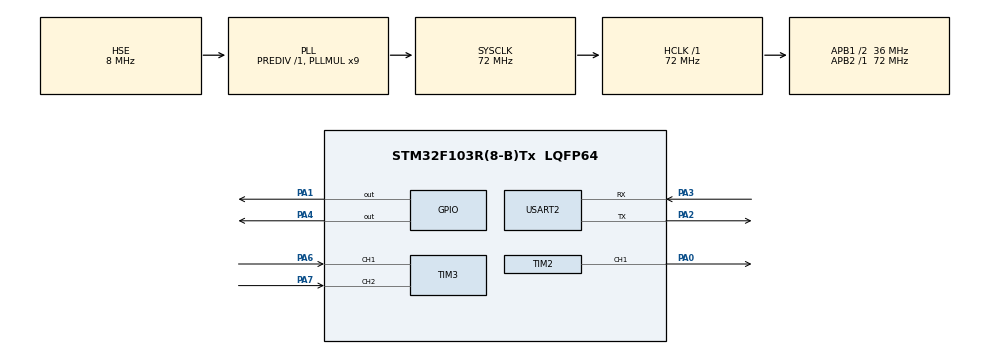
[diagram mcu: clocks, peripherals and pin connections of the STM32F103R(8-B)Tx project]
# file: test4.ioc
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Mcu.Family=STM32F1
Mcu.Name=STM32F103R(8-B)Tx
Mcu.Package=LQFP64
NVIC.PriorityGroup=NVIC_PRIORITYGROUP_4
PA0-WKUP.Signal=S_TIM2_CH1_ETR
PA1.GPIO_Speed=GPIO_SPEED_FREQ_HIGH
PA1.Signal=GPIO_Output
PA13.Mode=Serial_Wire
PA13.Signal=SYS_JTMS-SWDIO
PA14.Mode=Serial_Wire
PA14.Signal=SYS_JTCK-SWCLK
PA2.Mode=Asynchronous
PA2.Signal=USART2_TX
PA3.Mode=Asynchronous
PA3.Signal=USART2_RX
PA4.GPIO_Speed=GPIO_SPEED_FREQ_HIGH
PA4.Signal=GPIO_Output
PA6.Signal=S_TIM3_CH1
PA7.Signal=S_TIM3_CH2
PD0-OSC_IN.Mode=HSE-External-Clock-Source
PD0-OSC_IN.Signal=RCC_OSC_IN
PD1-OSC_OUT.Mode=HSE-External-Clock-Source
PD1-OSC_OUT.Signal=RCC_OSC_OUT
ProjectManager.HeapSize=0x200
ProjectManager.StackSize=0x400
ProjectManager.TargetToolchain=STM32CubeIDE
RCC.ADCPresc=RCC_ADCPCLK2_DIV6
RCC.AHBFreq_Value=72000000
RCC.APB1CLKDivider=RCC_HCLK_DIV2
RCC.APB1Freq_Value=36000000
RCC.APB1TimFreq_Value=72000000
RCC.APB2Freq_Value=72000000
RCC.APB2TimFreq_Value=72000000
RCC.HCLKFreq_Value=72000000
RCC.PLLMUL=RCC_PLL_MUL9
RCC.PLLSourceVirtual=RCC_PLLSOURCE_HSE
RCC.SYSCLKFreq_VALUE=72000000
RCC.SYSCLKSource=RCC_SYSCLKSOURCE_PLLCLK
RCC.USBFreq_Value=72000000
SH.S_TIM2_CH1_ETR.0=TIM2_CH1,PWM Generation1 CH1
SH.S_TIM3_CH1.0=TIM3_CH1,Encoder_Interface
SH.S_TIM3_CH2.0=TIM3_CH2,Encoder_Interface
TIM2.Channel-PWM\ Generation1\ CH1=TIM_CHANNEL_1
TIM2.Period=999
TIM2.Prescaler=71
USART2.VirtualMode=VM_ASYNC
board=custom

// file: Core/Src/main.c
/* USER CODE BEGIN Header */
/**
  ******************************************************************************
  * @file           : main.c
  * @brief          : Main program body
  ******************************************************************************
  * @attention
  *
  * Copyright (c) 2026 STMicroelectronics.
  * All rights reserved.
  *
  * This software is licensed under terms that can be found in the LICENSE file
  * in the root directory of this software component.
  * If no LICENSE file comes with this software, it is provided AS-IS.
  *
  ******************************************************************************
  */
/* USER CODE END Header */
#include "main.h"

/* USER CODE BEGIN Includes */
#include <stdio.h>
#include <stdlib.h>
#include <math.h>
/* USER CODE END Includes */

/* USER CODE BEGIN PD */

#define VOLTAGE_MAX 12.0f
#define MAX_PWM 999

/* USER CODE END PD */

TIM_HandleTypeDef htim2;
TIM_HandleTypeDef htim3;

UART_HandleTypeDef huart2;

void SystemClock_Config(void);
static void MX_GPIO_Init(void);
static void MX_TIM2_Init(void);
static void MX_TIM3_Init(void);
static void MX_USART2_UART_Init(void);

/* USER CODE BEGIN 0 */

int _write(int file, char *ptr, int len)
{
    HAL_UART_Transmit(&huart2, (uint8_t *)ptr, len, HAL_MAX_DELAY);
    return len;
}

void motor_set(float motor_voltage)
{
    float u = motor_voltage / VOLTAGE_MAX;

    if (u > 1.0f) u = 1.0f;
    if (u < -1.0f) u = -1.0f;
    if (u > 0.01f && u < 0.15f) u = 0.15f;
    if (u < -0.01f && u > -0.15f) u = -0.15f;

    if (u > 0.01f)
    {
        HAL_GPIO_WritePin(GPIOA, GPIO_PIN_1, GPIO_PIN_SET);
        HAL_GPIO_WritePin(GPIOA, GPIO_PIN_4, GPIO_PIN_RESET);
        __HAL_TIM_SET_COMPARE(&htim2, TIM_CHANNEL_1, (uint16_t)(u * MAX_PWM));
    }
    else if (u < -0.01f)
    {
        HAL_GPIO_WritePin(GPIOA, GPIO_PIN_1, GPIO_PIN_RESET);
        HAL_GPIO_WritePin(GPIOA, GPIO_PIN_4, GPIO_PIN_SET);
        __HAL_TIM_SET_COMPARE(&htim2, TIM_CHANNEL_1, (uint16_t)(-u * MAX_PWM));
    }
    else
    {
        HAL_GPIO_WritePin(GPIOA, GPIO_PIN_1, GPIO_PIN_RESET);
        HAL_GPIO_WritePin(GPIOA, GPIO_PIN_4, GPIO_PIN_RESET);
        __HAL_TIM_SET_COMPARE(&htim2, TIM_CHANNEL_1, 0);
    }
}

void motor_stop(void)
{
    HAL_GPIO_WritePin(GPIOA, GPIO_PIN_1, GPIO_PIN_RESET);
    HAL_GPIO_WritePin(GPIOA, GPIO_PIN_4, GPIO_PIN_RESET);
    __HAL_TIM_SET_COMPARE(&htim2, TIM_CHANNEL_1, 0);
}

/* USER CODE END 0 */

int main(void)
{

  /* MCU Configuration--------------------------------------------------------*/

  /* Reset of all peripherals, Initializes the Flash interface and the Systick. */
  HAL_Init();

  /* Configure the system clock */
  SystemClock_Config();

  /* Initialize all configured peripherals */
  MX_GPIO_Init();
  MX_TIM2_Init();
  MX_TIM3_Init();
  MX_USART2_UART_Init();
  /* USER CODE BEGIN 2 */
  HAL_TIM_PWM_Start(&htim2, TIM_CHANNEL_1);
  HAL_TIM_Encoder_Start(&htim3, TIM_CHANNEL_ALL);
  __HAL_TIM_SET_COUNTER(&htim3, 0);
  printf("\r\n\nSystem started\r\n");
  /* USER CODE END 2 */

  /* Infinite loop */
  /* USER CODE BEGIN WHILE */
  printf("time_ms,position,velocity\r\n");
  motor_set(12);

  int16_t start = (int16_t)__HAL_TIM_GET_COUNTER(&htim3);
  int16_t prev  = start;
  uint32_t t0   = HAL_GetTick();
  uint32_t last_print = t0;

  while (HAL_GetTick() - t0 < 1000)
  {
      uint32_t now = HAL_GetTick();
      if (now - last_print >= 20)
      {
          int16_t count = (int16_t)__HAL_TIM_GET_COUNTER(&htim3);
          int16_t vel   = count - prev;
          printf("%lu,%d,%d\r\n", now - t0, count - start, vel);
          prev = count;
          last_print = now;
      }
  }

  motor_stop();

  while (HAL_GetTick() - t0 < 2000)
    {
        uint32_t now = HAL_GetTick();
        if (now - last_print >= 20)
        {
            int16_t count = (int16_t)__HAL_TIM_GET_COUNTER(&htim3);
            int16_t vel   = count - prev;
            printf("%lu,%d,%d\r\n", now - t0, count - start, vel);
            prev = count;
            last_print = now;
        }
    }

  printf("DONE\r\n");
  while (1)
  {
  }
}

void SystemClock_Config(void)
{
  RCC_OscInitTypeDef RCC_OscInitStruct = {0};
  RCC_ClkInitTypeDef RCC_ClkInitStruct = {0};

  /** Initializes the RCC Oscillators according to the specified parameters
  * in the RCC_OscInitTypeDef structure.
  */
  RCC_OscInitStruct.OscillatorType = RCC_OSCILLATORTYPE_HSE;
  RCC_OscInitStruct.HSEState = RCC_HSE_BYPASS;
  RCC_OscInitStruct.HSEPredivValue = RCC_HSE_PREDIV_DIV1;
  RCC_OscInitStruct.HSIState = RCC_HSI_ON;
  RCC_OscInitStruct.PLL.PLLState = RCC_PLL_ON;
  RCC_OscInitStruct.PLL.PLLSource = RCC_PLLSOURCE_HSE;
  RCC_OscInitStruct.PLL.PLLMUL = RCC_PLL_MUL9;
  if (HAL_RCC_OscConfig(&RCC_OscInitStruct) != HAL_OK)
  {
    Error_Handler();
  }

  /** Initializes the CPU, AHB and APB buses clocks
  */
  RCC_ClkInitStruct.ClockType = RCC_CLOCKTYPE_HCLK|RCC_CLOCKTYPE_SYSCLK
                              |RCC_CLOCKTYPE_PCLK1|RCC_CLOCKTYPE_PCLK2;
  RCC_ClkInitStruct.SYSCLKSource = RCC_SYSCLKSOURCE_PLLCLK;
  RCC_ClkInitStruct.AHBCLKDivider = RCC_SYSCLK_DIV1;
  RCC_ClkInitStruct.APB1CLKDivider = RCC_HCLK_DIV2;
  RCC_ClkInitStruct.APB2CLKDivider = RCC_HCLK_DIV1;

  if (HAL_RCC_ClockConfig(&RCC_ClkInitStruct, FLASH_LATENCY_2) != HAL_OK)
  {
    Error_Handler();
  }
}

static void MX_TIM2_Init(void)
{

  TIM_MasterConfigTypeDef sMasterConfig = {0};
  TIM_OC_InitTypeDef sConfigOC = {0};

  htim2.Instance = TIM2;
  htim2.Init.Prescaler = 71;
  htim2.Init.CounterMode = TIM_COUNTERMODE_UP;
  htim2.Init.Period = 999;
  htim2.Init.ClockDivision = TIM_CLOCKDIVISION_DIV1;
  htim2.Init.AutoReloadPreload = TIM_AUTORELOAD_PRELOAD_DISABLE;
  if (HAL_TIM_PWM_Init(&htim2) != HAL_OK)
  {
    Error_Handler();
  }
  sMasterConfig.MasterOutputTrigger = TIM_TRGO_RESET;
  sMasterConfig.MasterSlaveMode = TIM_MASTERSLAVEMODE_DISABLE;
  if (HAL_TIMEx_MasterConfigSynchronization(&htim2, &sMasterConfig) != HAL_OK)
  {
    Error_Handler();
  }
  sConfigOC.OCMode = TIM_OCMODE_PWM1;
  sConfigOC.Pulse = 0;
  sConfigOC.OCPolarity = TIM_OCPOLARITY_HIGH;
  sConfigOC.OCFastMode = TIM_OCFAST_DISABLE;
  if (HAL_TIM_PWM_ConfigChannel(&htim2, &sConfigOC, TIM_CHANNEL_1) != HAL_OK)
  {
    Error_Handler();
  }
  HAL_TIM_MspPostInit(&htim2);

}

static void MX_TIM3_Init(void)
{

  TIM_Encoder_InitTypeDef sConfig = {0};
  TIM_MasterConfigTypeDef sMasterConfig = {0};

  htim3.Instance = TIM3;
  htim3.Init.Prescaler = 0;
  htim3.Init.CounterMode = TIM_COUNTERMODE_UP;
  htim3.Init.Period = 65535;
  htim3.Init.ClockDivision = TIM_CLOCKDIVISION_DIV1;
  htim3.Init.AutoReloadPreload = TIM_AUTORELOAD_PRELOAD_DISABLE;
  sConfig.EncoderMode = TIM_ENCODERMODE_TI1;
  sConfig.IC1Polarity = TIM_ICPOLARITY_RISING;
  sConfig.IC1Selection = TIM_ICSELECTION_DIRECTTI;
  sConfig.IC1Prescaler = TIM_ICPSC_DIV1;
  sConfig.IC1Filter = 0;
  sConfig.IC2Polarity = TIM_ICPOLARITY_RISING;
  sConfig.IC2Selection = TIM_ICSELECTION_DIRECTTI;
  sConfig.IC2Prescaler = TIM_ICPSC_DIV1;
  sConfig.IC2Filter = 0;
  if (HAL_TIM_Encoder_Init(&htim3, &sConfig) != HAL_OK)
  {
    Error_Handler();
  }
  sMasterConfig.MasterOutputTrigger = TIM_TRGO_RESET;
  sMasterConfig.MasterSlaveMode = TIM_MASTERSLAVEMODE_DISABLE;
  if (HAL_TIMEx_MasterConfigSynchronization(&htim3, &sMasterConfig) != HAL_OK)
  {
    Error_Handler();
  }

}

static void MX_USART2_UART_Init(void)
{

  huart2.Instance = USART2;
  huart2.Init.BaudRate = 115200;
  huart2.Init.WordLength = UART_WORDLENGTH_8B;
  huart2.Init.StopBits = UART_STOPBITS_1;
  huart2.Init.Parity = UART_PARITY_NONE;
  huart2.Init.Mode = UART_MODE_TX_RX;
  huart2.Init.HwFlowCtl = UART_HWCONTROL_NONE;
  huart2.Init.OverSampling = UART_OVERSAMPLING_16;
  if (HAL_UART_Init(&huart2) != HAL_OK)
  {
    Error_Handler();
  }

}

static void MX_GPIO_Init(void)
{
  GPIO_InitTypeDef GPIO_InitStruct = {0};

  /* GPIO Ports Clock Enable */
  __HAL_RCC_GPIOD_CLK_ENABLE();
  __HAL_RCC_GPIOA_CLK_ENABLE();

  /*Configure GPIO pin Output Level */
  HAL_GPIO_WritePin(GPIOA, GPIO_PIN_1|GPIO_PIN_4, GPIO_PIN_RESET);

  /*Configure GPIO pins : PA1 PA4 */
  GPIO_InitStruct.Pin = GPIO_PIN_1|GPIO_PIN_4;
  GPIO_InitStruct.Mode = GPIO_MODE_OUTPUT_PP;
  GPIO_InitStruct.Pull = GPIO_NOPULL;
  GPIO_InitStruct.Speed = GPIO_SPEED_FREQ_HIGH;
  HAL_GPIO_Init(GPIOA, &GPIO_InitStruct);

  /* USER CODE BEGIN MX_GPIO_Init_2 */

  GPIO_InitTypeDef GPIO_InitStruct2 = {0};
  GPIO_InitStruct2.Pin = GPIO_PIN_5;
  GPIO_InitStruct2.Mode = GPIO_MODE_OUTPUT_PP;
  GPIO_InitStruct2.Pull = GPIO_NOPULL;
  GPIO_InitStruct2.Speed = GPIO_SPEED_FREQ_LOW;
  HAL_GPIO_Init(GPIOA, &GPIO_InitStruct2);

  /* USER CODE END MX_GPIO_Init_2 */
}

void Error_Handler(void)
{
  __disable_irq();
  while (1)
  {
  }
}
